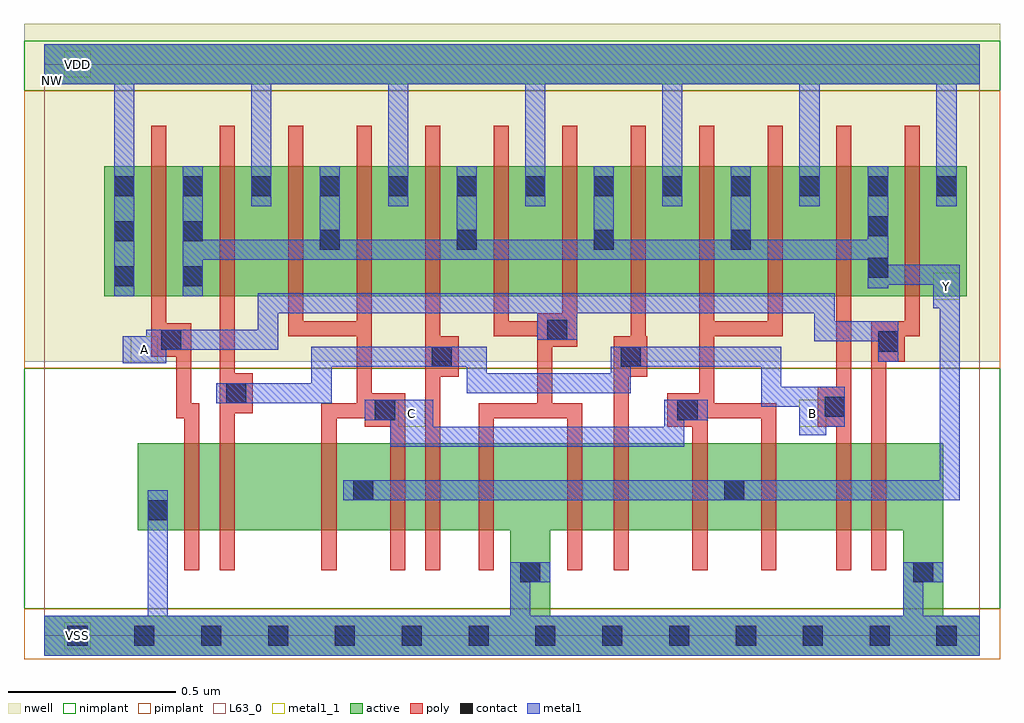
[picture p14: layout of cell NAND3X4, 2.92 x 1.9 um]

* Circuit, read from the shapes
.subckt NAND3X4 A B C NW VDD VSS Y
M1 n1 A VSS VSS nfet w=0.26u l=0.045u
M2 n2 B n1 VSS nfet w=0.26u l=0.045u
M3 Y C n2 VSS nfet w=0.26u l=0.045u
M4 n3 C Y VSS nfet w=0.26u l=0.045u
M5 n4 B n3 VSS nfet w=0.26u l=0.045u
M6 VSS A n4 VSS nfet w=0.26u l=0.045u
M7 n5 A VSS VSS nfet w=0.26u l=0.045u
M8 n6 B n5 VSS nfet w=0.26u l=0.045u
M9 Y C n6 VSS nfet w=0.26u l=0.045u
M10 n7 C Y VSS nfet w=0.26u l=0.045u
M11 n8 B n7 VSS nfet w=0.26u l=0.045u
M12 VSS A n8 VSS nfet w=0.26u l=0.045u
M13 Y A VDD NW pfet w=0.39u l=0.045u m=4
M14 VDD B Y NW pfet w=0.39u l=0.045u m=4
M15 Y C VDD NW pfet w=0.39u l=0.045u m=4
.ends

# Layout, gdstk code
import gdstk
lib = gdstk.Library(unit=1e-6, precision=5e-10)
def R(c, l, rs):  # rectangles x0, y0, x1, y1
    for r in rs: c.add(gdstk.rectangle(r[:2], r[2:], *l))
def A(c, l, x, y, w, h, nx, ny, dx, dy):  # array of equal rectangles
    R(c, l, [(x+i*dx, y+j*dy, x+i*dx+w, y+j*dy+h) for i in range(nx) for j in range(ny)])
def P(c, l, *ps):  # polygons
    for p in ps: c.add(gdstk.Polygon(p, *l))
active = (1, 0)
nwell = (2, 0)
poly = (3, 0)
nimplant = (4, 0)
pimplant = (5, 0)
contact = (6, 0)
metal1 = (7, 0)
metal1_1 = (7, 1)
L63_0 = (63, 0)

nand3x4 = lib.new_cell('NAND3X4')
R(nand3x4, active, [(0,-0.06,2.8,0.06), (0.18,1.015,2.76,1.405), (0,1.65,2.8,1.77)])
P(nand3x4, active, [(2.69,0.575),(0.28,0.575),(0.28,0.315),(1.395,0.315),(1.395,0.06),(1.515,0.06),(1.515,0.315),(2.57,0.315),(2.57,0.06),(2.69,0.06)])
R(nand3x4, nwell, [(-0.06,0.82,2.86,1.83), (0,1.61,0.05,1.71)])
P(nand3x4, poly, [(0.32,1.525),(0.365,1.525),(0.365,0.935),(0.44,0.935),(0.44,0.695),(0.465,0.695),(0.465,0.195),(0.42,0.195),(0.42,0.65),(0.395,0.65),(0.395,0.835),(0.32,0.835)],
  [(0.525,1.525),(0.57,1.525),(0.57,0.785),(0.625,0.785),(0.625,0.665),(0.57,0.665),(0.57,0.195),(0.525,0.195)],
  [(0.73,1.525),(0.775,1.525),(0.775,0.94),(0.935,0.94),(0.935,1.525),(0.98,1.525),(0.98,0.725),(1.08,0.725),(1.08,0.195),(1.035,0.195),(1.035,0.625),(0.96,0.625),(0.96,0.65),(0.875,0.65),(0.875,0.195),(0.83,0.195),(0.83,0.695),(0.935,0.695),(0.935,0.895),(0.73,0.895)],
  [(1.14,1.525),(1.185,1.525),(1.185,0.895),(1.24,0.895),(1.24,0.775),(1.185,0.775),(1.185,0.195),(1.14,0.195)],
  [(1.345,1.525),(1.39,1.525),(1.39,0.94),(1.475,0.94),(1.475,0.965),(1.55,0.965),(1.55,1.525),(1.595,1.525),(1.595,0.865),(1.52,0.865),(1.52,0.695),(1.61,0.695),(1.61,0.195),(1.565,0.195),(1.565,0.65),(1.345,0.65),(1.345,0.195),(1.3,0.195),(1.3,0.695),(1.475,0.695),(1.475,0.895),(1.345,0.895)],
  [(1.755,1.525),(1.8,1.525),(1.8,0.895),(1.805,0.895),(1.805,0.775),(1.75,0.775),(1.75,0.195),(1.705,0.195),(1.705,0.895),(1.755,0.895)],
  [(1.96,1.525),(2.005,1.525),(2.005,0.94),(2.165,0.94),(2.165,1.525),(2.21,1.525),(2.21,0.895),(2.005,0.895),(2.005,0.695),(2.19,0.695),(2.19,0.195),(2.145,0.195),(2.145,0.65),(1.985,0.65),(1.985,0.195),(1.94,0.195),(1.94,0.625),(1.865,0.625),(1.865,0.725),(1.96,0.725)],
  [(2.37,1.525),(2.415,1.525),(2.415,0.195),(2.37,0.195),(2.37,0.625),(2.315,0.625),(2.315,0.745),(2.37,0.745)],
  [(2.575,1.525),(2.62,1.525),(2.62,0.895),(2.575,0.895),(2.575,0.82),(2.52,0.82),(2.52,0.195),(2.475,0.195),(2.475,0.94),(2.575,0.94)])
R(nand3x4, nimplant, [(-0.06,0.08,2.86,0.8), (-0.06,1.63,2.86,1.78)])
R(nand3x4, pimplant, [(-0.06,-0.07,2.86,0.08), (-0.06,0.8,2.86,1.63)])
A(nand3x4, contact, 0.07, -0.03, 0.06, 0.06, 14, 1, 0.2, 0)
A(nand3x4, contact, 0.825, 1.155, 0.06, 0.06, 4, 1, 0.41, 0)
A(nand3x4, contact, 0.21, 1.315, 0.06, 0.06, 13, 1, 0.205, 0)
R(nand3x4, contact, [(1.425,0.16,1.485,0.22), (2.6,0.16,2.66,0.22), (0.31,0.345,0.37,0.405), (0.925,0.405,0.985,0.465), (2.035,0.405,2.095,0.465), (0.99,0.645,1.05,0.705), (1.895,0.645,1.955,0.705), (2.335,0.655,2.395,0.715), (0.545,0.695,0.605,0.755), (1.16,0.805,1.22,0.865), (1.725,0.805,1.785,0.865), (2.495,0.85,2.555,0.91), (0.35,0.855,0.41,0.915), (1.505,0.885,1.565,0.945), (0.21,1.045,0.27,1.105), (0.415,1.045,0.475,1.105), (2.465,1.07,2.525,1.13), (0.21,1.18,0.27,1.24), (0.415,1.18,0.475,1.24), (2.465,1.195,2.525,1.255)])
A(nand3x4, metal1, 0.62, 1.285, 0.06, 0.365, 6, 1, 0.41, 0)
R(nand3x4, metal1, [(0.31,0.06,0.37,0.435), (0.21,1.015,0.27,1.65)])
P(nand3x4, metal1, [(1.515,0.22),(1.395,0.22),(1.395,0.06),(1.455,0.06),(1.455,0.16),(1.515,0.16)],
  [(0.415,1.405),(0.475,1.405),(0.475,1.185),(0.825,1.185),(0.825,1.405),(0.885,1.405),(0.885,1.185),(1.235,1.185),(1.235,1.405),(1.295,1.405),(1.295,1.185),(1.645,1.185),(1.645,1.405),(1.705,1.405),(1.705,1.185),(2.055,1.185),(2.055,1.405),(2.115,1.405),(2.115,1.185),(2.465,1.185),(2.465,1.405),(2.525,1.405),(2.525,1.11),(2.74,1.11),(2.74,0.405),(0.895,0.405),(0.895,0.465),(2.68,0.465),(2.68,0.98),(2.66,0.98),(2.66,1.05),(2.525,1.05),(2.525,1.04),(2.465,1.04),(2.465,1.125),(0.475,1.125),(0.475,1.015),(0.415,1.015)],
  [(0.64,1.025),(2.365,1.025),(2.365,0.94),(2.555,0.94),(2.555,0.82),(2.495,0.82),(2.495,0.88),(2.305,0.88),(2.305,0.965),(1.595,0.965),(1.595,0.885),(1.475,0.885),(1.475,0.965),(0.7,0.965),(0.7,0.855),(0.365,0.855),(0.365,0.815),(0.235,0.815),(0.235,0.895),(0.305,0.895),(0.305,0.915),(0.64,0.915)],
  [(0.8,0.865),(1.325,0.865),(1.325,0.785),(1.695,0.785),(1.695,0.865),(2.205,0.865),(2.205,0.745),(2.395,0.745),(2.395,0.625),(2.34,0.625),(2.34,0.6),(2.26,0.6),(2.26,0.685),(2.145,0.685),(2.145,0.805),(1.755,0.805),(1.755,0.725),(1.265,0.725),(1.265,0.805),(0.86,0.805),(0.86,0.695),(0.515,0.695),(0.515,0.755),(0.8,0.755)],
  [(0.96,0.705),(1.165,0.705),(1.165,0.625),(1.855,0.625),(1.855,0.705),(1.985,0.705),(1.985,0.645),(1.915,0.645),(1.915,0.565),(1.035,0.565),(1.035,0.645),(0.96,0.645)],
  [(2.69,0.22),(2.57,0.22),(2.57,0.06),(2.63,0.06),(2.63,0.16),(2.69,0.16)])
R(nand3x4, metal1_1, [(0.06,-0.04,0.14,0.04), (1.06,0.625,1.14,0.705), (2.26,0.625,2.34,0.705), (0.26,0.815,0.34,0.895), (2.66,1.005,2.74,1.085), (0.06,1.67,0.14,1.75)])
R(nand3x4, L63_0, [(0,0,2.8,1.71)])
nand3x4.add(gdstk.FlexPath([(0,0),(2.8,0)], 0.12, ends="flush", simple_path=True, layer=7, datatype=0))  # metal1
nand3x4.add(gdstk.FlexPath([(0,1.71),(2.8,1.71)], 0.12, ends="flush", simple_path=True, layer=7, datatype=0))  # metal1
nand3x4.add(gdstk.Label('Y', (2.7,1.045), layer=7, texttype=1))
nand3x4.add(gdstk.Label('A', (0.3,0.855), layer=7, texttype=1))
nand3x4.add(gdstk.Label('B', (2.3,0.665), layer=7, texttype=1))
nand3x4.add(gdstk.Label('C', (1.1,0.665), layer=7, texttype=1))
nand3x4.add(gdstk.Label('VDD', (0.1,1.71), layer=7, texttype=1))
nand3x4.add(gdstk.Label('VSS', (0.1,0), layer=7, texttype=1))
nand3x4.add(gdstk.Label('VSS', (0.1,0), layer=7, texttype=1))
nand3x4.add(gdstk.Label('VDD', (0.1,1.71), layer=7, texttype=1))
nand3x4.add(gdstk.Label('C', (1.1,0.665), layer=7, texttype=1))
nand3x4.add(gdstk.Label('B', (2.3,0.665), layer=7, texttype=1))
nand3x4.add(gdstk.Label('A', (0.3,0.855), layer=7, texttype=1))
nand3x4.add(gdstk.Label('Y', (2.7,1.045), layer=7, texttype=1))
nand3x4.add(gdstk.Label('NAND3X4', (0,0), layer=63, texttype=0))
nand3x4.add(gdstk.Label('NW', (0.025,1.66), layer=2, texttype=0))
nand3x4.add(gdstk.Label('NW', (0.025,1.63), layer=2, texttype=0))

lib.write_gds('NAND3X4.gds')
